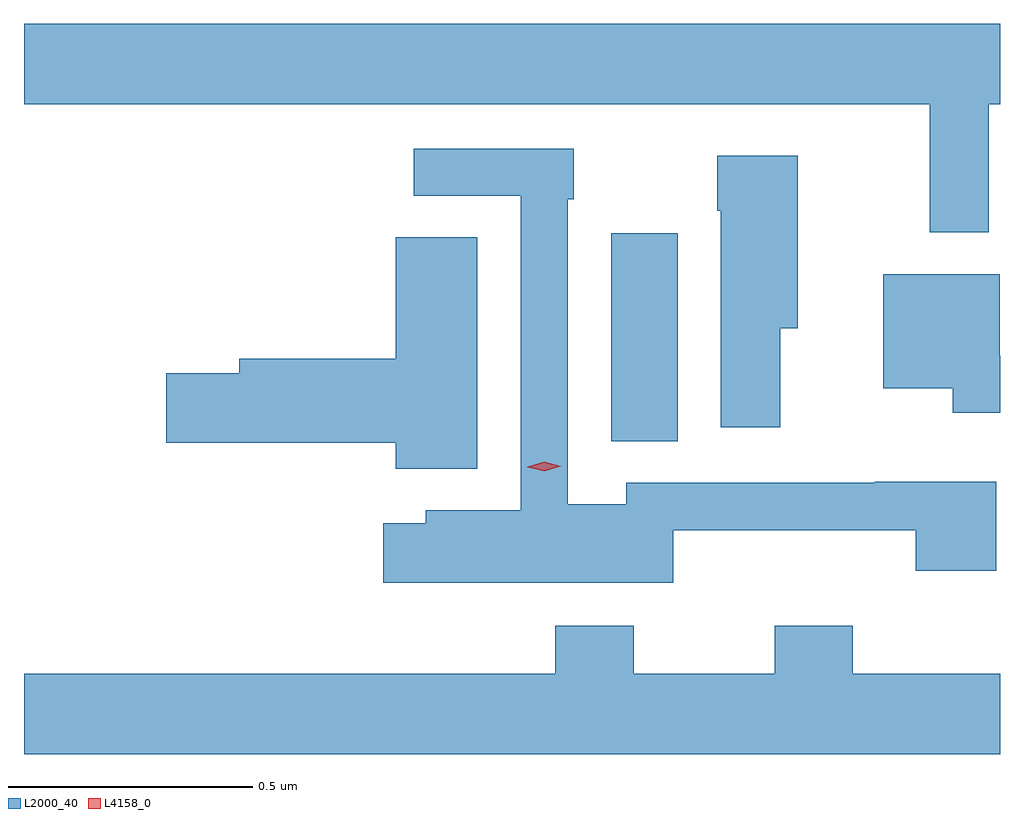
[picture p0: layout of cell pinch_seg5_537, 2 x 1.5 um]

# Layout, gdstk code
import gdstk
lib = gdstk.Library(unit=1e-6, precision=1e-09)
def R(c, l, rs):  # rectangles x0, y0, x1, y1
    for r in rs: c.add(gdstk.rectangle(r[:2], r[2:], *l))
def P(c, l, *ps):  # polygons
    for p in ps: c.add(gdstk.Polygon(p, *l))
L2000_40 = (2000, 40)
L4158_0 = (4158, 0)

pinch_seg5_537 = lib.new_cell('pinch_seg5_537')
R(pinch_seg5_537, L2000_40, [(964.781,849.409,964.918,849.835)])
P(pinch_seg5_537, L2000_40, [(965.555,850.1),(965.578,850.1),(965.578,850.264),(963.578,850.264),(963.578,850.1),(965.434,850.1),(965.434,849.837),(965.555,849.837)],
  [(964.908,849.227),(965.405,849.227),(965.405,849.144),(965.57,849.144),(965.57,849.326),(965.321,849.326),(965.321,849.324),(964.812,849.324),(964.812,849.28),(964.692,849.28),(964.692,849.905),(964.705,849.905),(964.705,850.008),(964.377,850.008),(964.377,849.912),(964.596,849.912),(964.596,849.268),(964.401,849.268),(964.401,849.241),(964.314,849.241),(964.314,849.119),(964.908,849.119)],
  [(965.128,849.641),(965.164,849.641),(965.164,849.994),(964.999,849.994),(964.999,849.881),(965.006,849.881),(965.006,849.438),(965.128,849.438)],
  [(964.507,849.827),(964.34,849.827),(964.34,849.578),(964.019,849.578),(964.019,849.548),(963.87,849.548),(963.87,849.406),(964.34,849.406),(964.34,849.353),(964.507,849.353)],
  [(965.578,849.584),(965.577,849.584),(965.577,849.751),(965.339,849.751),(965.339,849.518),(965.481,849.518),(965.481,849.467),(965.578,849.467)],
  [(965.578,848.932),(965.276,848.932),(965.276,849.031),(965.116,849.031),(965.116,848.932),(964.827,848.932),(964.827,849.031),(964.667,849.031),(964.667,848.932),(963.578,848.932),(963.578,848.768),(965.578,848.768)])
P(pinch_seg5_537, L4158_0, [(964.644,849.347),(964.61,849.356),(964.609,849.356),(964.61,849.357),(964.644,849.367),(964.678,849.358),(964.679,849.358),(964.678,849.358)])

lib.write_gds('pinch_seg5_537.gds')
